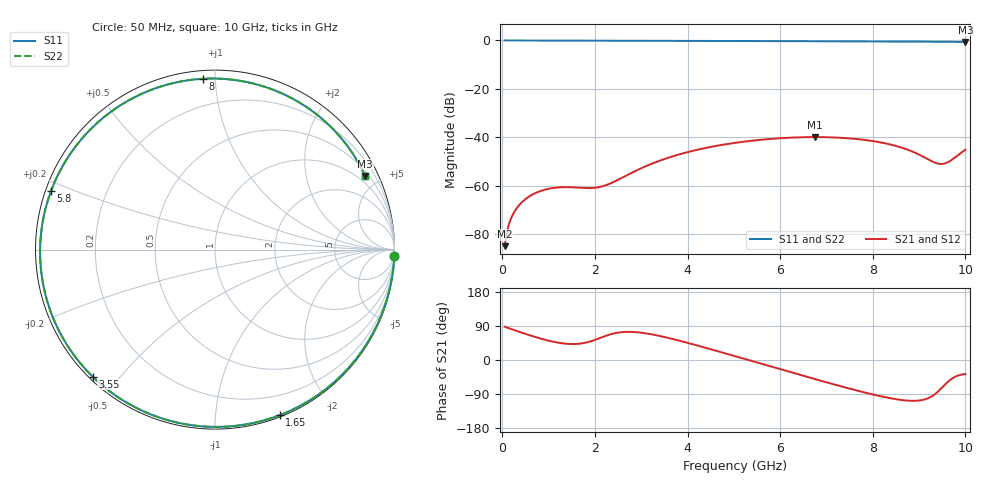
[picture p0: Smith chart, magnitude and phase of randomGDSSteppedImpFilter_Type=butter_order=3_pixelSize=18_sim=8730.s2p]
! freq	dB(S11)	phase(S11)	dB(S12)	phase(S12)
!  dB(S21)	phase(S21)	dB(S22)	phase(S22)
!S-par simulation data
#  GHz  S  DB  R 50
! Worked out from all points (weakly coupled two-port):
!   200 points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, 50 MHz to 10 GHz, reference 50 ohm
!   highest |S21| = -39.94 dB at 6.75 GHz (marker M1); lowest = -85.0 dB at 50 MHz (marker M2)
!   lowest |S11| = -0.6 dB at 10 GHz (marker M3), VSWR 28.02, Z = 34.2 + j210 ohm
!   |S11| at or under -10 dB: nowhere
!   |S22| runs from -0.6 to 0.0 dB; largest |S21 - S12| = 0
!   S11 on the Smith chart (normalised r, x): 50 MHz: 0, -52; 1.65 GHz: 0.02, -1.46; 3.55 GHz: 0.01, -0.42; 5.8 GHz: 0.02, +0.17; 8 GHz: 0.04, +0.93; 10 GHz: 0.68, +4.21
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0.05  -0.00 -2.2  -85.02 87.8  -85.02 87.8  -0.00 -2.2
0.1  -0.00 -4.4  -79.02 85.7  -79.02 85.7  -0.00 -4.4
0.2  -0.01 -8.7  -73.07 81.4  -73.07 81.4  -0.01 -8.7
0.3  -0.02 -13.0  -69.66 77.1  -69.66 77.1  -0.02 -13.0
0.6  -0.04 -25.9  -64.26 64.9  -64.26 64.9  -0.04 -25.9
1.05  -0.06 -44.7  -61.12 49.6  -61.12 49.6  -0.06 -44.7
1.65  -0.08 -68.6  -60.84 42.7  -60.84 42.7  -0.08 -68.6
1.75  -0.09 -72.5  -60.95 44.4  -60.95 44.4  -0.09 -72.5
2.1  -0.10 -85.5  -60.58 57.6  -60.58 57.6  -0.10 -85.5
2.5  -0.12 -99.7  -57.59 72.3  -57.59 72.3  -0.12 -99.7
3.4  -0.15 -129.3  -49.69 63.4  -49.69 63.4  -0.15 -129.3
3.55  -0.15 -134.0  -48.69 59.3  -48.69 59.3  -0.15 -133.9
4.3  -0.18 -156.5  -44.80 35.3  -44.80 35.3  -0.18 -156.5
5.05  -0.22 -178.1  -42.25 9.3  -42.25 9.3  -0.22 -178.1
5.8  -0.26 160.5  -40.69 -17.1  -40.69 -17.1  -0.26 160.5
6.7  -0.32 134.3  -39.94 -48.6  -39.94 -48.6  -0.32 134.3
6.75  -0.32 132.8  -39.94 -50.3  -39.94 -50.3  -0.32 132.8
8  -0.41 94.1  -41.58 -90.9  -41.58 -90.9  -0.41 94.2
8.35  -0.44 82.8  -42.87 -100.1  -42.87 -100.1  -0.44 82.8
9.45  -0.54 45.4  -51.03 -78.4  -51.03 -78.4  -0.54 45.4
9.65  -0.57 38.4  -50.02 -54.7  -50.02 -54.7  -0.57 38.4
10  -0.62 26.1  -45.11 -37.2  -45.11 -37.2  -0.62 26.1
